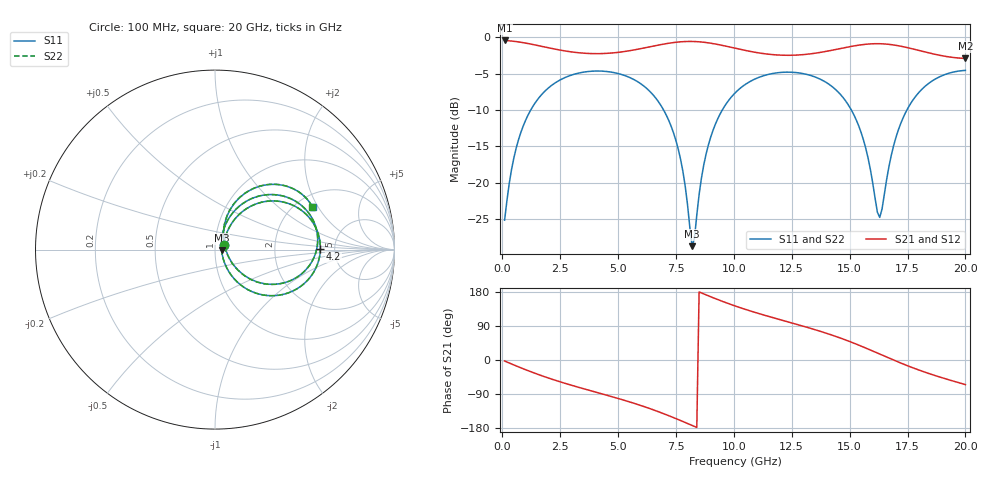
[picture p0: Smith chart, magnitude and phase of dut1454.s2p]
! Touchstone file exported from HFSS 2026.1.0
!  File:  C:/ffzhzh/LocalFiles/Ansys_Project_Files/temp_train_TSV_RDL_1454_1783359167_50076.aedt
!  Generated:  01:48:43 AM Jul  7, 2026
!  Design:  TSV_RDL
!  Project:  temp_train_TSV_RDL_1454_1783359167_50076
! Variables:
!  h_bsmrdl = 4.54um
!  h_ox = 20um
!  h_rdl = 5um
!  h_sub = 84.24um
!  h_tmrdl = 2.78um
!  h_tsv = 84.24um
!  h_via = 3um
!  l_bsmrdl = 952.38um
!  l_sub = 7008.82um
!  l_tmrdl = 909.48um
!  m_sub = 200um
!  pitch = 47.72um
!  r_tsv = 4.27um
!  s_tmrdl = 10um
!  w_bsmrdl = 25.08um
!  w_sub = 500um
!  w_tmrdl = 12.84um
!  x_tsv_center1 = 915.9um
!  x_tsv_center2 = 1893.36um
!  x_tsv_center3 = 2815.68um
!  x_tsv_center4 = 3793.14um
!  x_tsv_center5 = 4715.46um
!  x_tsv_center6 = 5692.92um
# GHz S MA R 50.000000
! Terminal data exported
! Port[1] = TM_RDL1_1_T1
! Port[2] = TM_RDL5_1_T1
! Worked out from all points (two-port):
!   200 points, 100 MHz to 20 GHz, reference 50 ohm
!   highest |S21| = -0.42 dB at 100 MHz (marker M1); lowest = -2.9 dB at 20 GHz (marker M2)
!   |S21| within 3 dB of the highest: start of sweep to end of sweep
!   lowest |S11| = -28.7 dB at 8.2 GHz (marker M3), VSWR 1.08, Z = 53.8 - j0.327 ohm
!   |S11| at or under -10 dB: start of sweep to 1.227 GHz; 6.968 GHz to 9.499 GHz (2.532 GHz wide, 30.7 % of centre); 15.08 GHz to 17.47 GHz (2.396 GHz wide, 14.7 % of centre)
!   |S22| runs from -28.7 to -4.5 dB; largest |S21 - S12| = 1.5e-14
!   S11 on the Smith chart (normalised r, x): 100 MHz: 1.10, +0.06; 4.2 GHz: 3.84, +0.03; 20 GHz: 2.45, +1.79
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0.1  0.05531 29.6  0.9528 -2.7  0.9528 -2.7  0.05531 29.6
! Gamma 0 0 0 0
! Port Impedance 50 0 50 0
0.5  0.1484 57.3  0.9404 -13.1  0.9404 -13.1  0.1484 57.3
1.2  0.3108 50.7  0.9021 -30.2  0.9021 -30.2  0.3108 50.7
2.2  0.4765 33.1  0.8352 -51.8  0.8352 -51.8  0.4765 33.1
3.5  0.5766 11.3  0.7791 -75.6  0.7791 -75.6  0.5766 11.3
4.2  0.587 0.2  0.7733 -87.6  0.7733 -87.6  0.587 0.2
5.4  0.5383 -19.4  0.8051 -108.7  0.8051 -108.7  0.5383 -19.5
6.8  0.3502 -45.1  0.8892 -137.7  0.8892 -137.7  0.3502 -45.2
7.7  0.145 -57.9  0.9326 -159.8  0.9326 -159.8  0.145 -57.9
8.2  0.03663 -4.8  0.9379 -172.7  0.9379 -172.7  0.03659 -4.7
8.6  0.1075 65.6  0.9299 177.0  0.9299 177.0  0.1075 65.6
8.9  0.1819 66.5  0.9176 169.4  0.9176 169.4  0.1819 66.5
10.1  0.422 46.5  0.8396 141.7  0.8396 141.7  0.422 46.4
11.8  0.5688 17.7  0.7584 109.8  0.7584 109.8  0.5688 17.7
13.4  0.5421 -7.5  0.774 82.0  0.774 82.0  0.542 -7.6
15.2  0.29 -37.8  0.8746 44.0  0.8746 44.0  0.2898 -38.0
15.7  0.1719 -41.6  0.8971 31.5  0.8971 31.5  0.1716 -41.9
16.3  0.05776 17.5  0.9048 15.7  0.9048 15.7  0.05664 17.6
16.7  0.1296 67.4  0.8957 5.1  0.8957 5.1  0.1292 67.9
17.2  0.2539 68.5  0.8704 -7.8  0.8704 -7.8  0.2537 68.8
17.9  0.402 57.8  0.8204 -24.4  0.8204 -24.4  0.4019 57.9
20  0.5929 23.6  0.7168 -64.9  0.7168 -64.9  0.5929 23.7
